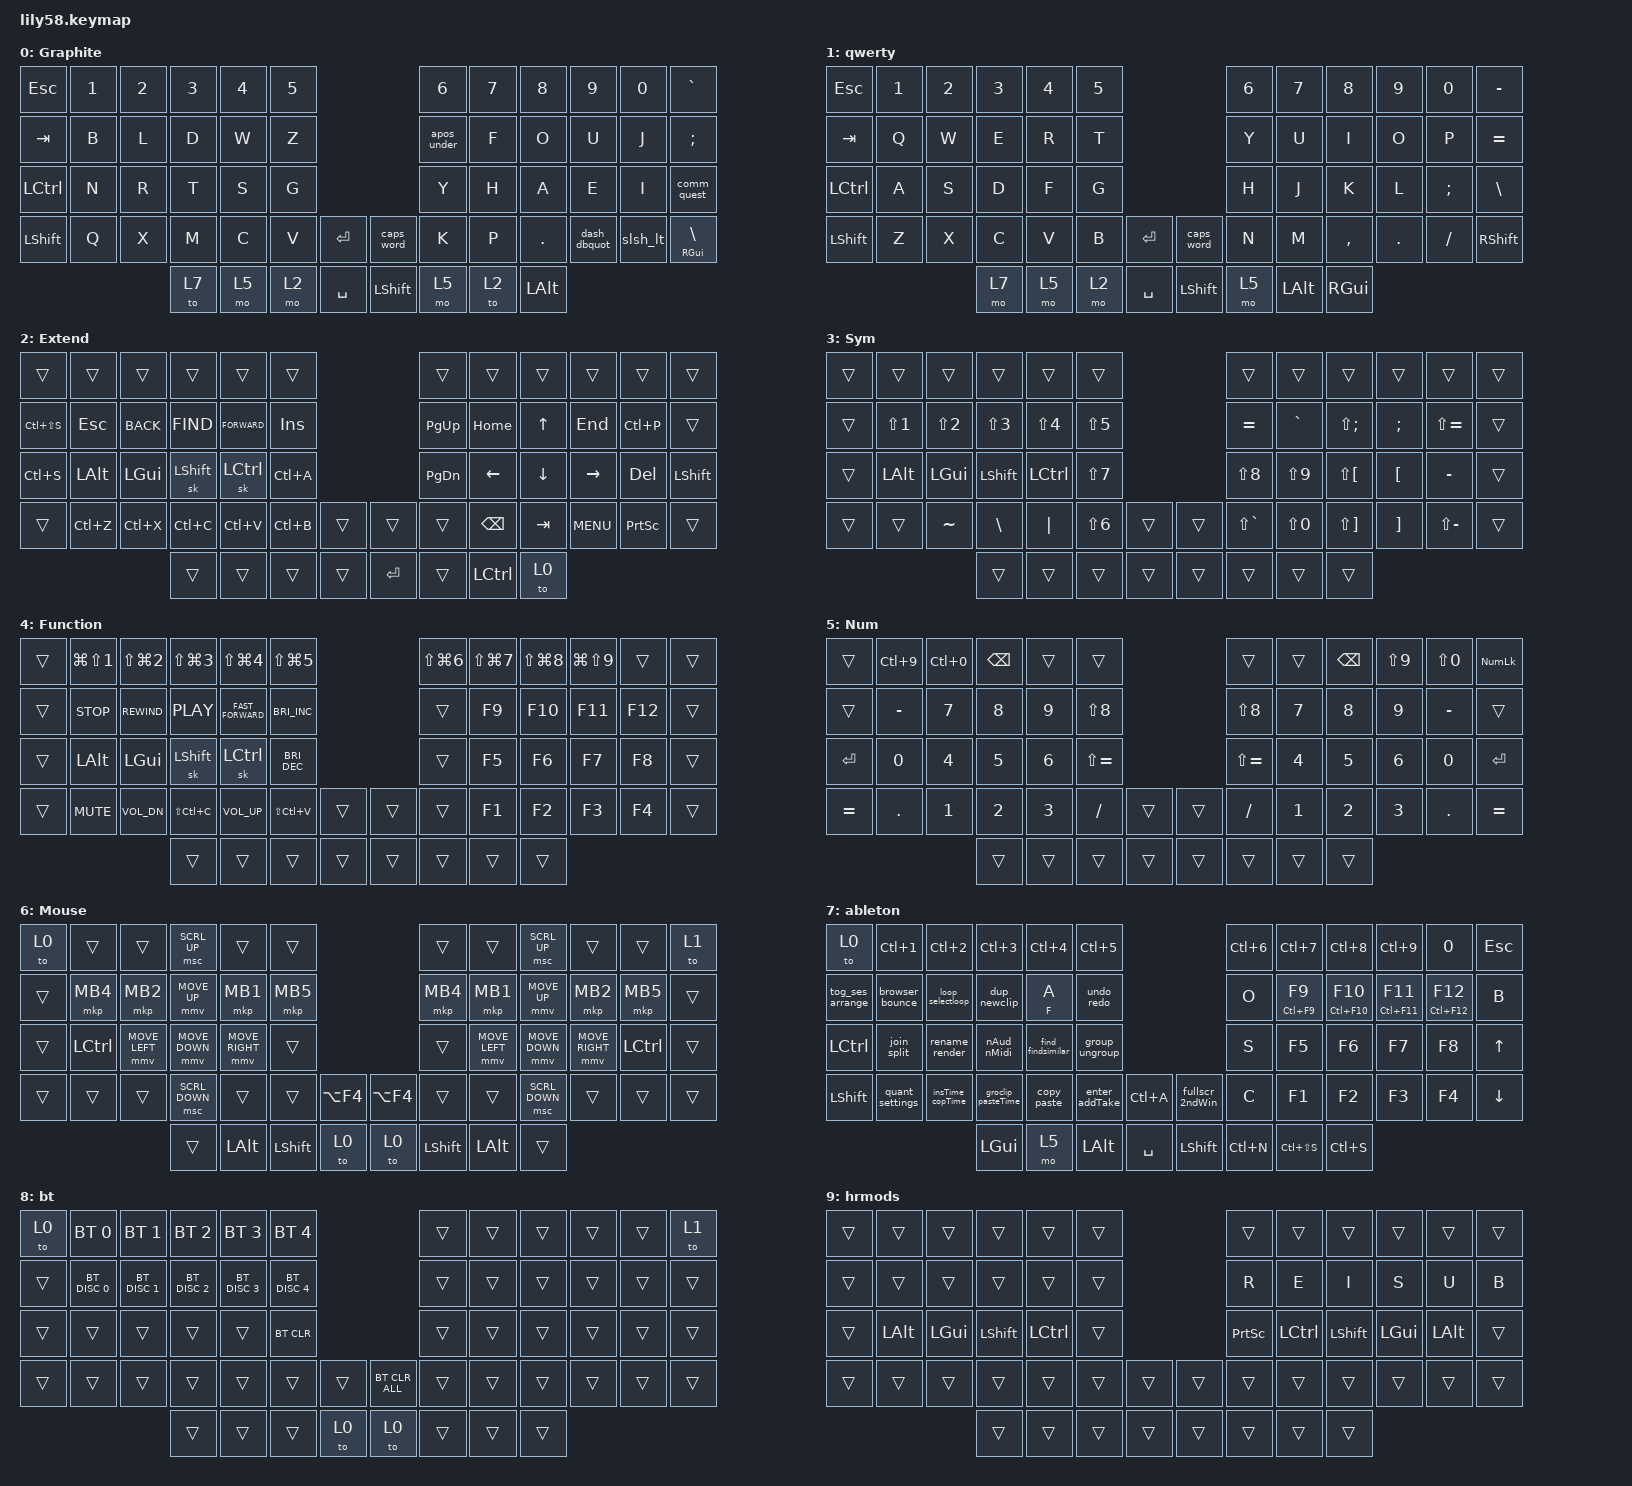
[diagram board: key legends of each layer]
/*
 * Copyright (c) 2020 The ZMK Contributors
 *
 * SPDX-License-Identifier: MIT
 */

#include <behaviors.dtsi>
#include <dt-bindings/zmk/bt.h>
#include <dt-bindings/zmk/keys.h>
#include <dt-bindings/zmk/pointing.h>

/ {
    combos {
        compatible = "zmk,combos";

        Function {
            bindings = <&mo 4>;
            key-positions = <52 55>;
        };

        Sym {
            bindings = <&mo 3>;
            key-positions = <52 54>;
        };

        homerowmods {
            bindings = <&mo 9>;
            key-positions = <53 54>;
        };

        qwerty {
            bindings = <&tog 1>;
            key-positions = <23 35>;
        };

        graphite {
            bindings = <&tog 0>;
            key-positions = <10 11>;
        };

        onehanddel {
            bindings = <&kp DEL>;
            key-positions = <0 3>;
        };

        mouse-lh {
            bindings = <&to 6>;
            key-positions = <28 27 26 25>;
        };

        mouse-rh {
            bindings = <&to 6>;
            key-positions = <31 32 33 34>;
        };

        bluetooth {
            bindings = <&to 8>;
            key-positions = <0 11>;
        };
    };

    behaviors {
        apos_under: apos_under {
            compatible = "zmk,behavior-mod-morph";
            label = "APOS_UNDER";
            bindings = <&kp APOS>, <&kp UNDER>;

            #binding-cells = <0>;
            mods = <(MOD_LSFT)>;
        };

        comm_quest: comm_quest {
            compatible = "zmk,behavior-mod-morph";
            label = "COMM_QUEST";
            bindings = <&kp COMMA>, <&kp QUESTION>;

            #binding-cells = <0>;
            mods = <(MOD_LSFT)>;
        };

        dash_dbquot: dash_dbquot {
            compatible = "zmk,behavior-mod-morph";
            label = "DASH_DBQUOT";
            bindings = <&kp MINUS>, <&kp DOUBLE_QUOTES>;

            #binding-cells = <0>;
            mods = <(MOD_LSFT)>;
        };

        slsh_lt: slsh_lt {
            compatible = "zmk,behavior-mod-morph";
            label = "SLSH_LT";
            bindings = <&kp SLASH>, <&kp LT>;

            #binding-cells = <0>;
            mods = <(MOD_LSFT)>;
        };

        find_findsimilar: find_findsimilar {
            compatible = "zmk,behavior-mod-morph";
            label = "FIND_FINDSIMILAR";
            bindings = <&kp LC(F)>, <&kp LC(LS(F))>;

            #binding-cells = <0>;
            mods = <(MOD_LALT)>;
        };

        copy_paste: copy_paste {
            compatible = "zmk,behavior-mod-morph";
            label = "COPY_PASTE";
            bindings = <&kp LC(C)>, <&kp LC(V)>;

            #binding-cells = <0>;
            mods = <(MOD_LALT)>;
        };

        quant_settings: quant_settings {
            compatible = "zmk,behavior-mod-morph";
            label = "QUANT_SETTINGS";
            bindings = <&kp LC(U)>, <&kp LC(LS(U))>;

            #binding-cells = <0>;
            mods = <(MOD_LALT)>;
        };

        undo_redo: undo_redo {
            compatible = "zmk,behavior-mod-morph";
            label = "UNDO_REDO";
            bindings = <&kp LC(Z)>, <&kp LC(Y)>;

            #binding-cells = <0>;
            mods = <(MOD_LALT)>;
        };

        group_ungroup: group_ungroup {
            compatible = "zmk,behavior-mod-morph";
            label = "GROUP_UNGROUP";
            bindings = <&kp LC(G)>, <&kp LC(LS(G))>;

            #binding-cells = <0>;
            mods = <(MOD_LALT)>;
        };

        dup_newclip: dup_newclip {
            compatible = "zmk,behavior-mod-morph";
            label = "DUP_NEWCLIP";
            bindings = <&kp LC(D)>, <&kp LS(LC(M))>;

            #binding-cells = <0>;
            mods = <(MOD_LALT)>;
        };

        rename_render: rename_render {
            compatible = "zmk,behavior-mod-morph";
            label = "RENAME_RENDER";
            bindings = <&kp LC(R)>, <&kp LS(LC(R))>;

            #binding-cells = <0>;
            mods = <(MOD_LALT)>;
        };

        loop_selectloop: loop_selectloop {
            compatible = "zmk,behavior-mod-morph";
            label = "LOOP_SELECTLOOP";
            bindings = <&kp LC(L)>, <&kp LC(LS(L))>;

            #binding-cells = <0>;
            mods = <(MOD_LALT)>;
        };

        browser_bounce: browser_bounce {
            compatible = "zmk,behavior-mod-morph";
            label = "BROWSER_BOUNCE";
            bindings = <&kp LC(LA(B))>, <&kp LC(B)>;

            #binding-cells = <0>;
            mods = <(MOD_LALT)>;
        };

        tog_ses_arrange: tog_ses_arrange {
            compatible = "zmk,behavior-mod-morph";
            label = "TOG_SES_ARRANGE";
            bindings = <&kp LA(NUMBER_1)>, <&kp LA(NUMBER_2)>;

            #binding-cells = <0>;
            mods = <(MOD_LALT)>;
        };

        fullscr_2ndWin: fullscr_2ndWin {
            compatible = "zmk,behavior-mod-morph";
            label = "FULLSCR_2NDWIN";
            bindings = <&kp F11>, <&kp LC(LS(W))>;

            #binding-cells = <0>;
            mods = <(MOD_LALT)>;
        };

        nAud_nMidi: nAud_nMidi {
            compatible = "zmk,behavior-mod-morph";
            label = "NAUD_NMIDI";
            bindings = <&kp LC(T)>, <&kp LC(LS(T))>;

            #binding-cells = <0>;
            mods = <(MOD_LALT)>;
        };

        enter_addTake: enter_addTake {
            compatible = "zmk,behavior-mod-morph";
            label = "ENTER_ADDTAKE";
            bindings = <&kp ENTER>, <&kp LS(LA(T))>;

            #binding-cells = <0>;
            mods = <(MOD_LALT)>;
        };

        togFrz_Cls_plug: togFrz_Cls_plug {
            compatible = "zmk,behavior-mod-morph";
            label = "TOGFRZ_CLS_PLUG";
            bindings = <&kp LS(LA(LC(F)))>, <&kp LC(LA(P))>;

            #binding-cells = <0>;
            mods = <(MOD_LALT)>;
        };

        delenv_delTime: delenv_delTime {
            compatible = "zmk,behavior-mod-morph";
            label = "DELENV_DELTIME";
            bindings = <&kp LC(DEL)>, <&kp LC(LS(DEL))>;

            #binding-cells = <0>;
            mods = <(MOD_LALT)>;
        };

        join_split: join_split {
            compatible = "zmk,behavior-mod-morph";
            label = "JOIN_SPLIT";
            bindings = <&kp LC(J)>, <&ctrl_e_hold>;

            #binding-cells = <0>;
            mods = <(MOD_LALT)>;
        };

        insTime_copTime: insTime_copTime {
            compatible = "zmk,behavior-mod-morph";
            label = "INSTIME_COPTIME";
            bindings = <&kp LC(I)>, <&kp LS(LC(C))>;

            #binding-cells = <0>;
            mods = <(MOD_LALT)>;
        };

        groclip_pasteTime: groclip_pasteTime {
            compatible = "zmk,behavior-mod-morph";
            label = "GROCLIP_PASTETIME";
            bindings = <&kp LA(LC(E))>, <&kp LS(LC(V))>;

            #binding-cells = <0>;
            mods = <(MOD_LALT)>;
        };

        plus_ctrlshft: plus_ctrlshft {
            compatible = "zmk,behavior-mod-morph";
            label = "PLUS_CTRLSHFT";
            bindings = <&kp LS(EQUAL)>, <&kp LC(LEFT_SHIFT)>;

            #binding-cells = <0>;
            mods = <(MOD_LALT)>;
        };

        hold_tap: hold_tap {
            compatible = "zmk,behavior-hold-tap";
            label = "HOLD_TAP";
            bindings = <&kp>, <&kp>;

            #binding-cells = <2>;
            tapping-term-ms = <200>;
            flavor = "tap-preferred";
        };
    };

    macros {
        ctrl_e_hold: ctrl_e_hold {
            compatible = "zmk,behavior-macro";
            #binding-cells = <0>;
            bindings =
                <&macro_press>,
                <&kp LC(E)>,
                <&macro_pause_for_release>,
                <&kp LC(E)>,
                <&macro_release>,
                <&macro_wait_time 0>,
                <&macro_tap_time 0>;

            label = "CTRL_E_HOLD";
        };
    };

    keymap {
        compatible = "zmk,keymap";

        default_layer {
            // ------------------------------------------------------------------------------------------------------------
            // |  ESC  |  1  |  2  |  3   |  4   |  5   |                   |  6   |  7    |  8    |  9   |   0   |   `   |
            // |  TAB  |  Q  |  W  |  E   |  R   |  T   |                   |  Y   |  U    |  I    |  O   |   P   |   -   |
            // |  CTRL |  A  |  S  |  D   |  F   |  G   |                   |  H   |  J    |  K    |  L   |   ;   |   '   |
            // | SHIFT |  Z  |  X  |  C   |  V   |  B   |   "["  |  |  "]"  |  N   |  M    |  ,    |  .   |   /   | SHIFT |
            //                     | ALT  | GUI  | LOWER|  SPACE |  | ENTER | RAISE| BSPC  | GUI   |

            display-name = "Graphite";
            bindings = <
&kp ESC    &kp N1  &kp N2  &kp N3  &kp N4  &kp N5                           &kp N6       &kp N7  &kp N8    &kp N9        &kp N0    &kp GRAVE
&kp TAB    &kp B   &kp L   &kp D   &kp W   &kp Z                            &apos_under  &kp F   &kp O     &kp U         &kp J     &kp SEMI
&kp LCTRL  &kp N   &kp R   &kp T   &kp S   &kp G                            &kp Y        &kp H   &kp A     &kp E         &kp I     &comm_quest
&kp LSHFT  &kp Q   &kp X   &kp M   &kp C   &kp V   &kp ENTER    &caps_word  &kp K        &kp P   &kp DOT   &dash_dbquot  &slsh_lt  &mt RGUI BSLH
                           &to 7   &mo 5   &mo 2   &kp SPACE    &kp LSHFT   &mo 5        &to 2   &kp LALT
            >;
        };

        qwerty {
            bindings = <
&kp ESC    &kp N1  &kp N2  &kp N3  &kp N4  &kp N5                               &kp N6  &kp N7        &kp N8         &kp N9   &kp N0    &kp MINUS
&kp TAB    &kp Q   &kp W   &kp E   &kp R   &kp T                                &kp Y   &kp U         &kp I          &kp O    &kp P     &kp EQUAL
&kp LCTRL  &kp A   &kp S   &kp D   &kp F   &kp G                                &kp H   &kp J         &kp K          &kp L    &kp SEMI  &kp BSLH
&kp LSHFT  &kp Z   &kp X   &kp C   &kp V   &kp B   &kp ENTER    &caps_word      &kp N   &kp M         &kp COMMA      &kp DOT  &kp FSLH  &kp RSHFT
                           &mo 7   &mo 5   &mo 2   &kp SPACE    &kp LEFT_SHIFT  &mo 5   &kp LEFT_ALT  &kp RIGHT_GUI
            >;

            label = "qwerty";
        };

        lower_layer {
            // ------------------------------------------------------------------------------------------------------------
            // | BTCLR | BT1 | BT2 |  BT3 |  BT4 |  BT5 |                   |      |       |       |      |       |       |
            // |  F1   |  F2 |  F3 |  F4  |  F5  |  F6  |                   |  F7  |  F8   |  F9   |  F10 |  F11  |  F12  |
            // |   `   |  !  |  @  |  #   |  $   |  %   |                   |  ^   |  &    |  *    |  (   |   )   |   ~   |
            // |       |     |     |      |      |      |        |  |       |      |  _    |  +    |  {   |   }   |  "|"  |
            //                     |      |      |      |        |  |       |      |       |       |

            display-name = "Extend";
            bindings = <
&trans         &trans      &trans      &trans      &trans         &trans                           &trans     &trans         &trans        &trans      &trans           &trans
&kp LC(LS(S))  &kp ESCAPE  &kp K_BACK  &kp K_FIND  &kp K_FORWARD  &kp INSERT                       &kp PG_UP  &kp HOME       &kp UP_ARROW  &kp END     &kp LC(P)        &trans
&kp LC(S)      &kp LALT    &kp LGUI    &sk LSHFT   &sk LCTRL      &kp LC(A)                        &kp PG_DN  &kp LEFT       &kp DOWN      &kp RIGHT   &kp DELETE       &kp LSHFT
&trans         &kp LC(Z)   &kp LC(X)   &kp LC(C)   &kp LC(V)      &kp LC(B)   &trans    &trans     &trans     &kp BACKSPACE  &kp TAB       &kp C_MENU  &kp PRINTSCREEN  &trans
                                       &trans      &trans         &trans      &trans    &kp ENTER  &trans     &kp LCTRL      &to 0
            >;
        };

        symbols {
            display-name = "Sym";
            bindings = <
&trans  &trans      &trans      &trans         &trans      &trans                              &trans         &trans      &trans        &trans    &trans         &trans
&trans  &kp LS(N1)  &kp LS(N2)  &kp LS(N3)     &kp LS(N4)  &kp LS(NUMBER_5)                    &kp EQUAL      &kp GRAVE   &kp LS(SEMI)  &kp SEMI  &kp LS(EQUAL)  &trans
&trans  &kp LALT    &kp LGUI    &kp LSHFT      &kp LCTRL   &kp LS(N7)                          &kp LS(N8)     &kp LS(N9)  &kp LS(LBKT)  &kp LBKT  &kp MINUS      &trans
&trans  &trans      &kp TILDE   &kp BACKSLASH  &kp PIPE    &kp LS(N6)        &trans    &trans  &kp LS(GRAVE)  &kp LS(N0)  &kp LS(RBKT)  &kp RBKT  &kp LS(MINUS)  &trans
                                &trans         &trans      &trans            &trans    &trans  &trans         &trans      &trans
            >;
        };

        function {
            // ------------------------------------------------------------------------------------------------------------
            // |       |     |     |      |      |      |                   |      |       |       |      |       |       |
            // |   `   |  1  |  2  |  3   |  4   |  5   |                   |  6   |   7   |   8   |  9   |   0   |       |
            // |   F1  |  F2 |  F3 |  F4  |  F5  |  F6  |                   |      |   <-  |   v   |  ^   |  ->   |       |
            // |   F7  |  F8 |  F9 |  F10 |  F11 |  F12 |        |  |       |  +   |   -   |   =   |  [   |   ]   |   \   |
            //                     |      |      |      |        |  |       |      |       |       |

            display-name = "Function";
            bindings = <
&trans  &kp LG(LS(NUMBER_1))  &kp LS(LG(NUMBER_2))  &kp LS(LG(NUMBER_3))  &kp LS(LG(NUMBER_4))  &kp LS(LG(N5))                          &kp LS(LG(NUMBER_6))  &kp LS(LG(N7))  &kp LS(LG(N8))  &kp LG(LS(N9))  &trans   &trans
&trans  &kp C_STOP            &kp C_REWIND          &kp C_PLAY            &kp C_FAST_FORWARD    &kp C_BRIGHTNESS_INC                    &trans                &kp F9          &kp F10         &kp F11         &kp F12  &trans
&trans  &kp LALT              &kp LGUI              &sk LSHFT             &sk LCTRL             &kp C_BRIGHTNESS_DEC                    &trans                &kp F5          &kp F6          &kp F7          &kp F8   &trans
&trans  &kp K_MUTE            &kp C_VOL_DN          &kp LS(LC(C))         &kp C_VOLUME_UP       &kp LS(LC(V))         &trans    &trans  &trans                &kp F1          &kp F2          &kp F3          &kp F4   &trans
                                                    &trans                &trans                &trans                &trans    &trans  &trans                &trans          &trans
            >;
        };

        numpad {
            display-name = "Num";
            bindings = <
&trans     &kp LC(N9)  &kp LC(N0)  &kp BSPC  &trans  &trans                           &trans         &trans  &kp BSPC  &kp LS(N9)  &kp LS(N0)  &kp KP_NUM
&trans     &kp MINUS   &kp N7      &kp N8    &kp N9  &kp LS(N8)                       &kp LS(N8)     &kp N7  &kp N8    &kp N9      &kp MINUS   &trans
&kp ENTER  &kp N0      &kp N4      &kp N5    &kp N6  &kp LS(EQUAL)                    &kp LS(EQUAL)  &kp N4  &kp N5    &kp N6      &kp N0      &kp ENTER
&kp EQUAL  &kp DOT     &kp N1      &kp N2    &kp N3  &kp FSLH       &trans    &trans  &kp FSLH       &kp N1  &kp N2    &kp N3      &kp DOT     &kp EQUAL
                                   &trans    &trans  &trans         &trans    &trans  &trans         &trans  &trans
            >;
        };

        mouse {
            display-name = "Mouse";
            bindings = <
&to 0   &trans     &trans          &msc SCRL_UP    &trans           &trans                                    &trans          &trans          &msc SCRL_UP    &trans           &trans     &to 1
&trans  &mkp MB4   &mkp MB2        &mmv MOVE_UP    &mkp MB1         &mkp MB5                                  &mkp MB4        &mkp MB1        &mmv MOVE_UP    &mkp MB2         &mkp MB5   &trans
&trans  &kp LCTRL  &mmv MOVE_LEFT  &mmv MOVE_DOWN  &mmv MOVE_RIGHT  &trans                                    &trans          &mmv MOVE_LEFT  &mmv MOVE_DOWN  &mmv MOVE_RIGHT  &kp LCTRL  &trans
&trans  &trans     &trans          &msc SCRL_DOWN  &trans           &trans          &kp LA(F4)    &kp LA(F4)  &trans          &trans          &msc SCRL_DOWN  &trans           &trans     &trans
                                   &trans          &kp LEFT_ALT     &kp LEFT_SHIFT  &to 0         &to 0       &kp LEFT_SHIFT  &kp LALT        &trans
            >;
        };

        ableton {
            bindings = <
&to 0             &kp LC(N1)       &kp LC(N2)        &kp LC(N3)          &kp LC(N4)         &kp LC(N5)                                    &kp LC(N6)  &kp LC(N7)           &kp LC(N8)             &kp LC(N9)             &kp N0                 &kp ESCAPE
&tog_ses_arrange  &browser_bounce  &loop_selectloop  &dup_newclip        &hold_tap F A      &undo_redo                                    &kp O       &hold_tap LC(F9) F9  &hold_tap LC(F10) F10  &hold_tap LC(F11) F11  &hold_tap LC(F12) F12  &kp B
&kp LCTRL         &join_split      &rename_render    &nAud_nMidi         &find_findsimilar  &group_ungroup                                &kp S       &kp F5               &kp F6                 &kp F7                 &kp F8                 &kp UP_ARROW
&kp LEFT_SHIFT    &quant_settings  &insTime_copTime  &groclip_pasteTime  &copy_paste        &enter_addTake  &kp LC(A)    &fullscr_2ndWin  &kp C       &kp F1               &kp F2                 &kp F3                 &kp F4                 &kp DOWN_ARROW
                                                     &kp LEFT_GUI        &mo 5              &kp LALT        &kp SPACE    &kp LEFT_SHIFT   &kp LC(N)   &kp LC(LS(S))        &kp LC(S)
            >;

            label = "ableton";
        };

        bluetooth {
            bindings = <
&to 0   &bt BT_SEL 0   &bt BT_SEL 1   &bt BT_SEL 2   &bt BT_SEL 3   &bt BT_SEL 4                             &trans  &trans  &trans  &trans  &trans  &to 1
&trans  &bt BT_DISC 0  &bt BT_DISC 1  &bt BT_DISC 2  &bt BT_DISC 3  &bt BT_DISC 4                            &trans  &trans  &trans  &trans  &trans  &trans
&trans  &trans         &trans         &trans         &trans         &bt BT_CLR                               &trans  &trans  &trans  &trans  &trans  &trans
&trans  &trans         &trans         &trans         &trans         &trans         &trans    &bt BT_CLR_ALL  &trans  &trans  &trans  &trans  &trans  &trans
                                      &trans         &trans         &trans         &to 0     &to 0           &trans  &trans  &trans
            >;

            label = "bt";
        };

        hrmods {
            bindings = <
&trans  &trans    &trans    &trans     &trans     &trans                    &trans           &trans     &trans     &trans    &trans    &trans
&trans  &trans    &trans    &trans     &trans     &trans                    &kp R            &kp E      &kp I      &kp S     &kp U     &kp B
&trans  &kp LALT  &kp LGUI  &kp LSHFT  &kp LCTRL  &trans                    &kp PRINTSCREEN  &kp LCTRL  &kp LSHFT  &kp LGUI  &kp LALT  &trans
&trans  &trans    &trans    &trans     &trans     &trans  &trans    &trans  &trans           &trans     &trans     &trans    &trans    &trans
                            &trans     &trans     &trans  &trans    &trans  &trans           &trans     &trans
            >;

            label = "hrmods";
        };
    };
};
